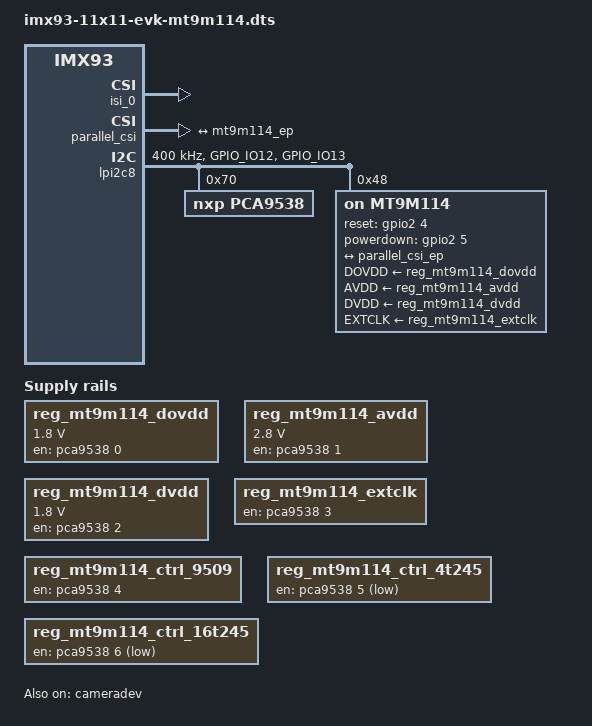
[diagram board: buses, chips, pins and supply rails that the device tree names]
// SPDX-License-Identifier: (GPL-2.0+ OR MIT)
/*
 * Copyright 2022 NXP
 */

#include "imx93-11x11-evk.dts"

/ {
	reg_mt9m114_dovdd: regulator-mt9m114-dovdd {
		compatible = "regulator-fixed";
		regulator-name = "mt9m114-dovdd";
		regulator-min-microvolt = <1800000>;
		regulator-max-microvolt = <1800000>;
		startup-delay-us = <0>;
		off-on-delay-us  = <1000>;
		gpio = <&pca9538 0 GPIO_ACTIVE_HIGH>;
		enable-active-high;
	};

	reg_mt9m114_avdd: regulator-mt9m114-avdd {
		compatible = "regulator-fixed";
		regulator-name = "mt9m114-avdd";
		regulator-min-microvolt = <2800000>;
		regulator-max-microvolt = <2800000>;
		startup-delay-us = <200>;
		off-on-delay-us  = <500>;
		gpio = <&pca9538 1 GPIO_ACTIVE_HIGH>;
		enable-active-high;
	};

	reg_mt9m114_dvdd: regulator-mt9m114-dvdd {
		compatible = "regulator-fixed";
		regulator-name = "mt9m114-dvdd";
		regulator-min-microvolt = <1800000>;
		regulator-max-microvolt = <1800000>;
		startup-delay-us = <500>;
		off-on-delay-us  = <200>;
		gpio = <&pca9538 2 GPIO_ACTIVE_HIGH>;
		enable-active-high;
	};

	reg_mt9m114_extclk: regulator-mt9m114-extclk {
		compatible = "regulator-fixed";
		regulator-name = "mt9m114-extclk";
		startup-delay-us = <1000>;
		off-on-delay-us  = <0>;
		gpio = <&pca9538 3 GPIO_ACTIVE_HIGH>;
		enable-active-high;
	};

	reg_mt9m114_ctrl_9509: regulator-mt9m114-ctrl-9509 {
		compatible = "regulator-fixed";
		regulator-name = "mt9m114-ctrl-9509";
		gpio = <&pca9538 4 GPIO_ACTIVE_HIGH>;
		enable-active-high;
		regulator-always-on;
	};

	reg_mt9m114_ctrl_4t245: regulator-mt9m114-ctrl-4t245 {
		compatible = "regulator-fixed";
		regulator-name = "mt9m114-ctrl-4t245";
		gpio = <&pca9538 5 GPIO_ACTIVE_HIGH>;
		enable-active-low;
		regulator-always-on;
	};

	reg_mt9m114_ctrl_16t245: regulator-mt9m114-ctrl-16t245 {
		compatible = "regulator-fixed";
		regulator-name = "mt9m114-ctrl-16t245";
		gpio = <&pca9538 6 GPIO_ACTIVE_HIGH>;
		enable-active-low;
		regulator-always-on;
	};
};

&iomuxc {
	pinctrl_parallel_csi: ci_pi {
		fsl,pins = <
			MX93_PAD_GPIO_IO01__MEDIAMIX_CAM_DATA00		0xb9e
			MX93_PAD_GPIO_IO07__MEDIAMIX_CAM_DATA01		0xb9e
			MX93_PAD_GPIO_IO08__MEDIAMIX_CAM_DATA02		0xb9e
			MX93_PAD_GPIO_IO09__MEDIAMIX_CAM_DATA03		0xb9e
			MX93_PAD_GPIO_IO10__MEDIAMIX_CAM_DATA04		0xb9e
			MX93_PAD_GPIO_IO11__MEDIAMIX_CAM_DATA05		0xb9e
			MX93_PAD_GPIO_IO14__MEDIAMIX_CAM_DATA06		0xb9e
			MX93_PAD_GPIO_IO15__MEDIAMIX_CAM_DATA07		0xb9e
			MX93_PAD_GPIO_IO17__MEDIAMIX_CAM_DATA08		0xb9e
			MX93_PAD_GPIO_IO18__MEDIAMIX_CAM_DATA09		0xb9e

			MX93_PAD_GPIO_IO00__MEDIAMIX_CAM_CLK		0xb9e
			MX93_PAD_GPIO_IO02__MEDIAMIX_CAM_VSYNC		0xb9e
			MX93_PAD_GPIO_IO03__MEDIAMIX_CAM_HSYNC		0xb9e
			MX93_PAD_GPIO_IO05__GPIO2_IO05			0x31e
			MX93_PAD_GPIO_IO04__GPIO2_IO04			0x31e
		>;
	};

	pinctrl_lpi2c8: lpi2c8grp {
		fsl,pins = <
			MX93_PAD_GPIO_IO12__LPI2C8_SDA		0x40000b9e
			MX93_PAD_GPIO_IO13__LPI2C8_SCL		0x40000b9e
		>;
	};
};

&cameradev {
	parallel_csi;
	status = "okay";
};

&isi_0 {
	interface = <6 0 2>;
	status = "okay";

	cap_device {
		status = "okay";
	};
};

&parallel_csi {
	#address-cells = <1>;
	#size-cells = <0>;
	status = "okay";

	port@0 {
		reg = <0>;
		parallel_csi_ep: endpoint {
			remote-endpoint = <&mt9m114_ep>;
		};
	};
};

&mipi_csi {
	status = "disabled";
};

&lpi2c8 {
	#address-cells = <1>;
	#size-cells = <0>;
	clock-frequency = <400000>;
	pinctrl-names = "default", "sleep";
	pinctrl-0 = <&pinctrl_lpi2c8>;
	pinctrl-1 = <&pinctrl_lpi2c8>;
	pinctrl-assert-gpios = <&adp5585gpio 4 GPIO_ACTIVE_HIGH>;
	status = "okay";

	pca9538: gpio@70 {
		compatible = "nxp,pca9538";
		reg = <0x70>;
		gpio-controller;
		#gpio-cells = <2>;
		status = "okay";
	};

	mt9m114: mt9m114@48 {
		compatible = "on,mt9m114";
		reg = <0x48>;
		pinctrl-names    = "default";
		pinctrl-0        = <&pinctrl_parallel_csi>;
		reset-gpios      = <&gpio2 4 GPIO_ACTIVE_HIGH>;
		powerdown-gpios  = <&gpio2 5 GPIO_ACTIVE_HIGH>;
		DOVDD-supply     = <&reg_mt9m114_dovdd>;
		AVDD-supply      = <&reg_mt9m114_avdd>;
		DVDD-supply      = <&reg_mt9m114_dvdd>;
		EXTCLK-supply    = <&reg_mt9m114_extclk>;
		mclk             = <27000000>;
		status = "okay";

		port {
			mt9m114_ep: endpoint {
				remote-endpoint = <&parallel_csi_ep>;
				bus-type = <5>; /* V4L2_FWNODE_BUS_TYPE_PARALLEL */
				bus-width = <8>;
				vsync-active = <1>;
				hsync-active = <1>;
				pclk-sample = <1>;
			};
		};
	};
};

&adp5585_isp {
	status = "disabled";
};

&ap1302 {
	status = "disabled";
};

&sai3 {
	status = "disabled";
};

&flexcan2 {
	status = "disabled";
};
